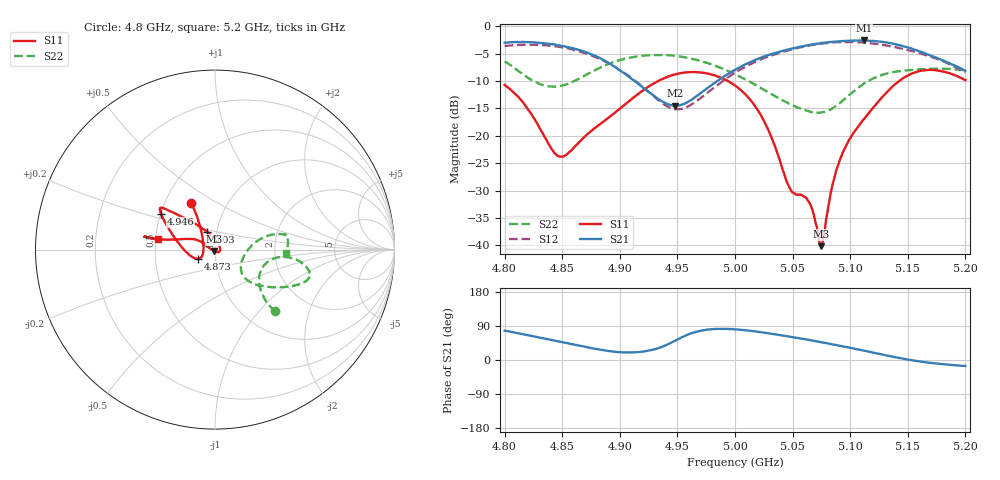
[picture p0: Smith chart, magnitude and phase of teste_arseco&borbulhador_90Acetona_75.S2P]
! Network Analyzer HP8722D
! Hewlett-Packard
! Data name: Linha & Wilkinson
! Saver's name: Rodrigo Anjos
! Comments: Teste da utilização de aquisição
! continua pelo VNA HP8722D
! Time and date: 17/4/2025 11:40
!  Frequency  S11  S21  S12  S22
# HZ  S  MA R 50
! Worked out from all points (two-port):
!   401 points, 4.8 GHz to 5.2 GHz, reference 50 ohm
!   highest |S21| = -2.58 dB at 5.112 GHz (marker M1); lowest = -14.5 dB at 4.948 GHz (marker M2)
!   |S21| within 3 dB of the highest: start of sweep to 4.881 GHz; 5.024 GHz to 5.173 GHz (148.7 MHz wide, 2.92 % of centre)
!   lowest |S11| = -40.1 dB at 5.075 GHz (marker M3), VSWR 1.02, Z = 49.5 - j0.858 ohm
!   |S11| at or under -10 dB: start of sweep to 4.933 GHz; 4.994 GHz to 5.143 GHz (148.6 MHz wide, 2.93 % of centre)
!   |S22| runs from -15.8 to -5.2 dB; largest |S21 - S12| = 1
!   S11 on the Smith chart (normalised r, x): 4.8 GHz: 0.68, +0.38; 4.873 GHz: 0.83, -0.08; 4.946 GHz: 0.50, +0.23; 5.03 GHz: 0.90, +0.18; 5.2 GHz: 0.52, +0.07
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4.8e9  0.2918 117.1  0.7094 77.6  0.6612 -16.1  0.4804 -45.8
4.818e9  0.1895 119.8  0.7176 66.7  0.6798 -23.9  0.3515 -42.5
4.846e9  0.06552 167.5  0.6733 49.5  0.6523 -37.3  0.2832 -20.7
4.867e9  0.09245 -150.5  0.5986 36.5  0.5808 -48.0  0.3437 -7.8
4.873e9  0.1062 -151.4  0.569 32.8  0.5511 -51.1  0.3714 -6.4
4.903e9  0.1878 175.0  0.3771 20.1  0.3813 -63.1  0.5004 -9.4
4.934e9  0.3194 151.1  0.2147 31.8  0.21 -55.9  0.5467 -15.8
4.946e9  0.3593 146.6  0.1894 47.8  0.1771 -39.6  0.5409 -18.4
4.948e9  0.3645 146.1  0.1882 50.9  0.1755 -36.3  0.5373 -18.9
4.975e9  0.3723 141.5  0.2681 79.7  0.2428 -2.4  0.4653 -26.2
5e9  0.2886 137.2  0.4 80.7  0.377 3.4  0.3648 -34.6
5.016e9  0.1958 129.3  0.4845 76.1  0.4654 0.5  0.2982 -40.5
5.03e9  0.1067 113.6  0.5499 70.1  0.5332 -3.9  0.2451 -43.5
5.048e9  0.0329 45.9  0.6207 61.5  0.61 -10.7  0.1942 -40.6
5.067e9  0.02149 -41.3  0.6834 51.6  0.6751 -20.1  0.1643 -26.3
5.075e9  0.00985 -118.5  0.7018 47.0  0.6932 -24.7  0.1632 -16.2
5.084e9  0.03329 164.2  0.7215 41.7  0.7097 -30.1  0.1765 -3.4
5.09e9  0.05606 155.0  0.7297 38.2  0.7144 -33.9  0.195 3.6
5.112e9  0.1425 155.5  0.7427 24.7  0.7106 -48.2  0.3001 14.7
5.134e9  0.2642 167.9  0.7038 10.7  0.6602 -61.2  0.3762 13.3
5.164e9  0.3962 169.7  0.5716 -5.3  0.5522 -74.9  0.4067 11.2
5.2e9  0.3229 169.5  0.3919 -15.9  0.3781 -84.3  0.3956 -2.5
